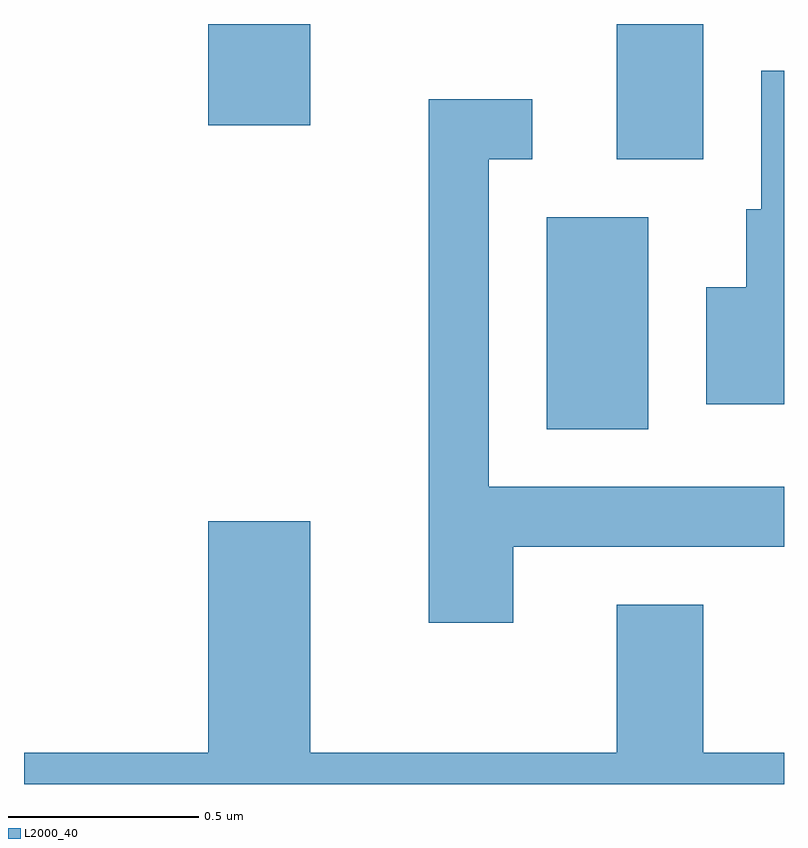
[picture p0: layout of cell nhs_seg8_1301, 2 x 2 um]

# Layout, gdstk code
import gdstk
lib = gdstk.Library(unit=1e-6, precision=1e-09)
def R(c, l, rs):  # rectangles x0, y0, x1, y1
    for r in rs: c.add(gdstk.rectangle(r[:2], r[2:], *l))
def P(c, l, *ps):  # polygons
    for p in ps: c.add(gdstk.Polygon(p, *l))
L2000_40 = (2000, 40)

nhs_seg8_1301 = lib.new_cell('nhs_seg8_1301')
R(nhs_seg8_1301, L2000_40, [(195.986,1875.276,196.254,1875.834), (196.171,1875.986,196.399,1876.342), (195.096,1876.076,195.364,1876.342)])
P(nhs_seg8_1301, L2000_40, [(196.611,1876.219),(196.551,1876.219),(196.551,1875.854),(196.511,1875.854),(196.511,1875.649),(196.406,1875.649),(196.406,1875.341),(196.611,1875.341)],
  [(195.899,1874.966),(196.611,1874.966),(196.611,1875.124),(195.834,1875.124),(195.834,1875.986),(195.948,1875.986),(195.948,1876.144),(195.676,1876.144),(195.676,1874.766),(195.899,1874.766)],
  [(196.611,1874.424),(196.399,1874.424),(196.399,1874.814),(196.171,1874.814),(196.171,1874.424),(195.364,1874.424),(195.364,1875.034),(195.096,1875.034),(195.096,1874.424),(194.611,1874.424),(194.611,1874.342),(196.611,1874.342)])

lib.write_gds('nhs_seg8_1301.gds')
